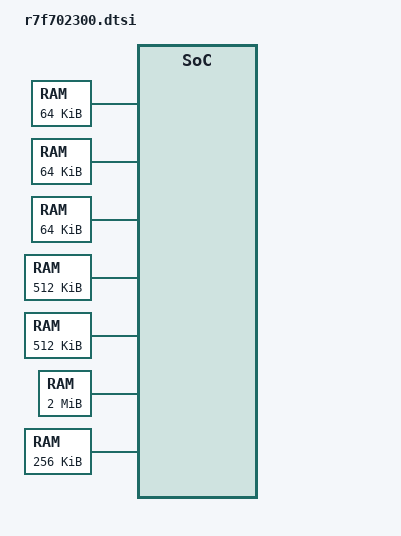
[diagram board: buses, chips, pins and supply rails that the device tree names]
/*
 * SPDX-FileCopyrightText: Copyright (c) 2026 Linumiz
 *
 * SPDX-License-Identifier: Apache-2.0
 */

#include <renesas/rh850u2a.dtsi>

/ {
	soc {
		flash0: flash@0 {
			compatible = "soc-nv-flash";
			reg = <0x0 DT_SIZE_M(16)>;
			ranges = <0x0 0x0 DT_SIZE_M(16)>;
			#address-cells = <1>;
			#size-cells = <1>;
		};
	};

	/* Local RAM CPU1, U2A HW UM Table 4.1 p534 */
	lram1: memory@fda00000 {
		compatible = "zephyr,memory-region", "mmio-sram";
		reg = <0xfda00000 DT_SIZE_K(64)>;
		zephyr,memory-region = "LRAM1";
	};

	/* Local RAM CPU2, U2A HW UM Table 4.1 p534 */
	lram2: memory@fd800000 {
		compatible = "zephyr,memory-region", "mmio-sram";
		reg = <0xfd800000 DT_SIZE_K(64)>;
		zephyr,memory-region = "LRAM2";
	};

	/* Local RAM CPU3, U2A HW UM Table 4.1 p534 */
	lram3: memory@fd600000 {
		compatible = "zephyr,memory-region", "mmio-sram";
		reg = <0xfd600000 DT_SIZE_K(64)>;
		zephyr,memory-region = "LRAM3";
	};

	/* Cluster RAM cluster 0, U2A HW UM Table 4.1 p534 */
	cram0: memory@fe000000 {
		compatible = "zephyr,memory-region", "mmio-sram";
		reg = <0xfe000000 DT_SIZE_K(512)>;
		zephyr,memory-region = "CRAM0";
	};

	/* Cluster RAM cluster 1, U2A HW UM Table 4.1 p534 */
	cram1: memory@fe100000 {
		compatible = "zephyr,memory-region", "mmio-sram";
		reg = <0xfe100000 DT_SIZE_K(512)>;
		zephyr,memory-region = "CRAM1";
	};

	/* Cluster RAM cluster 2, U2A HW UM Table 4.1 p534 */
	cram2: memory@fe400000 {
		compatible = "zephyr,memory-region", "mmio-sram";
		reg = <0xfe400000 DT_SIZE_M(2)>;
		zephyr,memory-region = "CRAM2";
	};

	/* Cluster RAM cluster 3 (retention RAM), U2A HW UM Table 4.1 p534 */
	cram3: memory@fe800000 {
		compatible = "zephyr,memory-region", "mmio-sram";
		reg = <0xfe800000 DT_SIZE_K(256)>;
		zephyr,memory-region = "CRAM3";
	};
};
